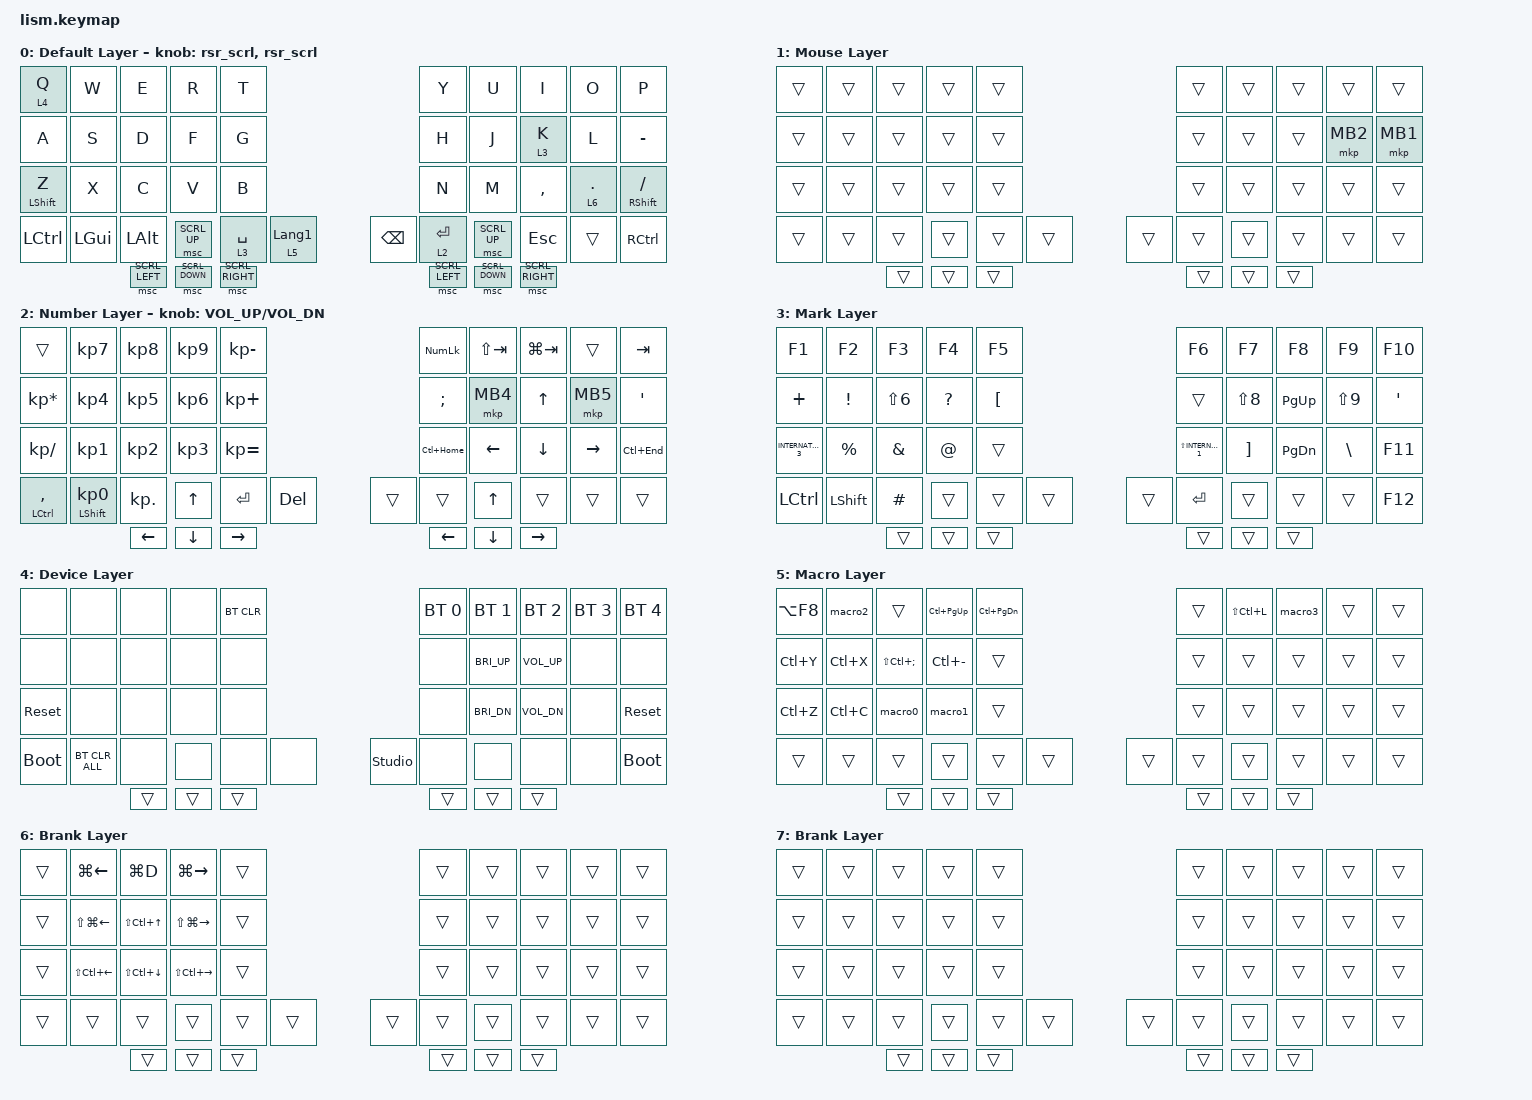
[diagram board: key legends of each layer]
#define ZMK_POINTING_DEFAULT_SCRL_VAL 200

#include <behaviors.dtsi>
#include <dt-bindings/zmk/bt.h>
#include <dt-bindings/zmk/keys.h>
#include <dt-bindings/zmk/pointing.h>
#include <dt-bindings/zmk/mouse.h>
#include <behaviors/runtime-sensor-rotate.dtsi>
#include <behaviors/default_layer.dtsi>
#include <dt-bindings/zmk_behavior_default_layer/default_layer.h>
#include <behaviors/runtime_macro.dtsi>

&mt {
    tapping-term-ms = <300>;
    flavor = "balanced";
};

&lt {
    quick-tap-ms = <0>; // 初期設定は300
    flavor = "balanced";
};


/ {
    macros {
        emoji: emoji_macro {
            compatible = "zmk,behavior-macro";
            label = "EMOJI";
            #binding-cells = <0>;
            bindings = 
                <&macro_press &kp CAPSLOCK>,
                <&macro_tap &kp E>,
                <&macro_release &kp CAPSLOCK>;
        };

        macro0: macro0 {
            compatible = "zmk,behavior-macro";
            #binding-cells = <0>;
            bindings = <&kp LA(LC(V)) &kp V &kp ENTER>;
            label = "MACRO0";
        };

        macro1: macro1 {
            compatible = "zmk,behavior-macro";
            #binding-cells = <0>;
            bindings = <&kp LA(H) &kp M &kp C &kp ENTER>;
            label = "MACRO1";
        };

        macro2: macro2 {
            compatible = "zmk,behavior-macro";
            #binding-cells = <0>;
            bindings = <&kp LC(G) &kp LA(S) &kp K &kp ENTER>;
            label = "MACRO2";
        };

        macro3: macro3 {
            compatible = "zmk,behavior-macro";
            #binding-cells = <0>;
            bindings = <&kp LEFT_ALT &kp D &kp F &kp S>;
            label = "MACRO3";
        };
    };

    behaviors {
        encoder_kp: sensor_rotate_kp {
            compatible = "zmk,behavior-sensor-rotate-var";
            #sensor-binding-cells = <2>;
            bindings = <&kp>, <&kp>;
        };

        rsr_scrl: rsr_scrl {
            compatible = "zmk,behavior-runtime-sensor-rotate";
            #sensor-binding-cells = <0>;
            tap-ms = <20>;
            cw-binding = <&msc SCRL_DOWN>;
            ccw-binding = <&msc SCRL_UP>;
        };
    };

    keymap {
        compatible = "zmk,keymap";

        default_layer {
            display-name = "Default Layer";
            bindings = <
                &lt 4 Q          &kp W              &kp E                 &kp R                   &kp T                                                  &kp Y          &kp U            &kp I              &kp O               &kp P
                &kp A            &kp S              &kp D                 &kp F                   &kp G                                                  &kp H          &kp J            &lt 3 K            &kp L               &kp MINUS
                &mt LEFT_SHIFT Z &kp X              &kp C                 &kp V                   &kp B                                                  &kp N          &kp M            &kp COMMA          &lt 6 DOT           &mt RIGHT_SHIFT  SLASH
                &kp LCTRL        &kp LEFT_GUI       &kp LEFT_ALT          &msc SCRL_UP            &lt 3 SPACE       &lt 5 LANGUAGE_1    &kp BACKSPACE    &lt 2 ENTER    &msc SCRL_UP     &kp ESCAPE         &trans              &kp RCTRL 
                                                    &msc SCRL_LEFT        &msc SCRL_DOWN          &msc SCRL_RIGHT                                        &msc SCRL_LEFT &msc SCRL_DOWN   &msc SCRL_RIGHT
            >;
            sensor-bindings = <&rsr_scrl &rsr_scrl>;
        };

        layer_1 {
            display-name = "Mouse Layer";
            bindings = <
                &trans           &trans             &trans                &trans                  &trans                                                 &trans         &trans           &trans             &trans              &trans
                &trans           &trans             &trans                &trans                  &trans                                                 &trans         &trans           &trans             &mkp MB2            &mkp MB1
                &trans           &trans             &trans                &trans                  &trans                                                 &trans         &trans           &trans             &trans              &trans
                &trans           &trans             &trans                &trans                  &trans            &trans              &trans           &trans         &trans           &trans             &trans              &trans
                                                    &trans                &trans                  &trans                                                 &trans         &trans           &trans
            >;
        };

        layer_2 {
            display-name = "Number Layer";
            bindings = <
                &trans           &kp KP_NUMBER_7             &kp KP_NUMBER_8       &kp KP_NUMBER_9         &kp KP_MINUS                                           &kp KP_NUM     &kp LS(TAB)      &kp LG(TAB)        &trans              &kp TAB
                &kp KP_MULTIPLY  &kp KP_NUMBER_4             &kp KP_NUMBER_5       &kp KP_NUMBER_6         &kp KP_PLUS                                            &kp SEMICOLON  &mkp MB4         &kp UP             &mkp MB5            &kp SINGLE_QUOTE
                &kp KP_SLASH     &kp KP_NUMBER_1             &kp KP_NUMBER_2       &kp KP_NUMBER_3         &kp KP_EQUAL                                           &kp LC(HOME)   &kp LEFT_ARROW   &kp DOWN           &kp RIGHT_ARROW     &kp LC(END)
                &mt LCTRL COMMA  &mt LEFT_SHIFT KP_NUMBER_0  &kp KP_DOT            &kp UP                  &kp ENTER      &kp DEL                &trans           &trans         &kp UP           &trans             &trans              &trans 
                                                             &kp LEFT              &kp DOWN                &kp RIGHT                                              &kp LEFT       &kp DOWN         &kp RIGHT
            >;
            sensor-bindings = <&encoder_kp C_VOL_UP C_VOL_DN>;
        };

        layer_3 {
            display-name = "Mark Layer";
            bindings = <
                &kp F1               &kp F2             &kp F3                &kp F4                  &kp F5                                                 &kp F6                   &kp F7             &kp F8             &kp F9              &kp F10
                &kp PLUS             &kp EXCL           &kp LS(NUMBER_6)      &kp QUESTION            &kp LEFT_BRACKET                                       &trans                   &kp LS(N8)         &kp PAGE_UP        &kp LS(N9)          &kp SINGLE_QUOTE
                &kp INTERNATIONAL_3  &kp PERCENT        &kp AMPS              &kp AT                  &trans                                                 &kp LS(INTERNATIONAL_1)  &kp RIGHT_BRACKET  &kp PAGE_DOWN      &kp BACKSLASH       &kp F11
                &kp LCTRL            &kp LEFT_SHIFT     &kp HASH              &trans                  &trans              &trans              &trans         &kp ENTER                &trans             &trans             &trans              &kp F12 
                                                        &trans                &trans                  &trans                                                 &trans                   &trans             &trans
            >;
        };

        layer_4 {
            display-name = "Device Layer";
            bindings = <
                &none            &none              &none                 &none                   &bt BT_CLR                                             &bt BT_SEL 0   &bt BT_SEL 1     &bt BT_SEL 2       &bt BT_SEL 3        &bt BT_SEL 4
                &none            &none              &none                 &none                   &none                                                  &none          &kp C_BRI_UP     &kp C_VOL_UP       &none               &none
                &sys_reset       &none              &none                 &none                   &none                                                  &none          &kp C_BRI_DN     &kp C_VOL_DN       &none               &sys_reset
                &bootloader      &bt BT_CLR_ALL     &none                 &none                   &none             &none               &studio_unlock   &none          &none            &none              &none               &bootloader
                                                    &trans                &trans                  &trans                                                 &trans         &trans           &trans
            >;
        };

        layer_5 {
            display-name = "Macro Layer";
            bindings = <
                &kp LA(F8)       &macro2            &trans                 &kp LC(PAGE_UP)         &kp LC(PAGE_DOWN)                                      &trans       &kp LS(LC(L))    &macro3            &trans              &trans
                &kp LC(Y)        &kp LC(X)          &kp LS(LC(SEMICOLON))  &kp LC(MINUS)           &trans                                                 &trans       &trans           &trans             &trans              &trans
                &kp LC(Z)        &kp LC(C)          &macro0                &macro1                 &trans                                                 &trans       &trans           &trans             &trans              &trans
                &trans           &trans             &trans                 &trans                  &trans            &trans              &trans           &trans       &trans           &trans             &trans              &trans
                                                    &trans                 &trans                  &trans                                                 &trans       &trans           &trans
            >;
        };

        layer_6 {
            display-name = "Brank Layer";
            bindings = <
                &trans           &kp LG(LEFT_ARROW)      &kp LG(D)               &kp LG(RIGHT_ARROW)      &trans                                                 &trans       &trans           &trans             &trans              &trans
                &trans           &kp LS(LG(LEFT_ARROW))  &kp LS(LC(UP_ARROW))    &kp LS(LG(RIGHT_ARROW))  &trans                                                 &trans       &trans           &trans             &trans              &trans
                &trans           &kp LS(LC(LEFT_ARROW))  &kp LS(LC(DOWN_ARROW))  &kp LS(LC(RIGHT_ARROW))  &trans                                                 &trans       &trans           &trans             &trans              &trans
                &trans           &trans                  &trans                  &trans                   &trans            &trans              &trans           &trans       &trans           &trans             &trans              &trans
                                                         &trans                  &trans                   &trans                                                 &trans       &trans           &trans
            >;
        };

        layer_7 {
            display-name = "Brank Layer";
            bindings = <
                &trans           &trans             &trans                &trans                  &trans                                                 &trans       &trans           &trans             &trans              &trans
                &trans           &trans             &trans                &trans                  &trans                                                 &trans       &trans           &trans             &trans              &trans
                &trans           &trans             &trans                &trans                  &trans                                                 &trans       &trans           &trans             &trans              &trans
                &trans           &trans             &trans                &trans                  &trans            &trans              &trans           &trans       &trans           &trans             &trans              &trans
                                                    &trans                &trans                  &trans                                                 &trans       &trans           &trans
            >;
        };
    };

};
